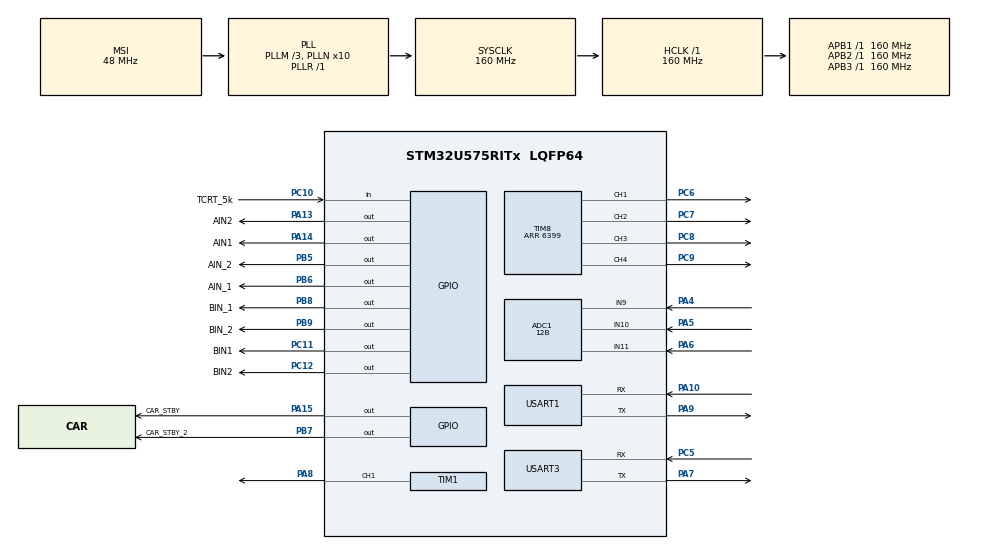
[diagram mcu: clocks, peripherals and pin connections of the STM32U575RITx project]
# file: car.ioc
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ADC1.Channel-4\#ChannelRegularConversion=ADC_CHANNEL_9
ADC1.Channel-5\#ChannelRegularConversion=ADC_CHANNEL_10
ADC1.Channel-6\#ChannelRegularConversion=ADC_CHANNEL_11
ADC1.ClockPrescaler=ADC_CLOCK_ASYNC_DIV1
ADC1.ContinuousConvMode=ENABLE
ADC1.ConversionDataManagement=ADC_CONVERSIONDATA_DMA_CIRCULAR
ADC1.EOCSelection=ADC_EOC_SINGLE_CONV
ADC1.EnableRegularConversion=ENABLE
ADC1.MonitoredBy-4\#ChannelRegularConversion=__NULL
ADC1.MonitoredBy-5\#ChannelRegularConversion=__NULL
ADC1.MonitoredBy-6\#ChannelRegularConversion=__NULL
ADC1.NbrOfConversion=3
ADC1.NbrOfConversionFlag=1
ADC1.OffsetNumber-4\#ChannelRegularConversion=ADC_OFFSET_NONE
ADC1.OffsetNumber-5\#ChannelRegularConversion=ADC_OFFSET_NONE
ADC1.OffsetNumber-6\#ChannelRegularConversion=ADC_OFFSET_NONE
ADC1.Rank-4\#ChannelRegularConversion=1
ADC1.Rank-5\#ChannelRegularConversion=2
ADC1.Rank-6\#ChannelRegularConversion=3
ADC1.Resolution=ADC_RESOLUTION_12B
ADC1.SamplingTime-4\#ChannelRegularConversion=ADC_SAMPLETIME_391CYCLES_5
ADC1.SamplingTime-5\#ChannelRegularConversion=ADC_SAMPLETIME_391CYCLES_5
ADC1.SamplingTime-6\#ChannelRegularConversion=ADC_SAMPLETIME_391CYCLES_5
ADC1.master=1
CORTEX_M33_NS.userName=CORTEX_M33
GPDMA1.CIRCULARMODE_GPDMACH0=ENABLE
GPDMA1.DESTDATAWIDTH_GPDMACH0=DMA_DEST_DATAWIDTH_HALFWORD
GPDMA1.DESTINC_GPDMACH0=DMA_DINC_INCREMENTED
GPDMA1.IPHANDLE_GPDMACH0-SIMPLEREQUEST_GPDMACH0=__NULL
GPDMA1.REQUEST_GPDMACH0=GPDMA1_REQUEST_ADC1
GPDMA1.SRCDATAWIDTH_GPDMACH0=DMA_SRC_DATAWIDTH_HALFWORD
GPDMA1.TRANSFERALLOCATEDPORTDEST_GPDMACH0=DMA_DEST_ALLOCATED_PORT1
GPDMA1.TRANSFERALLOCATEDPORTSRC_GPDMACH0=DMA_SRC_ALLOCATED_PORT1
Mcu.Family=STM32U5
Mcu.Name=STM32U575RITx
Mcu.Package=LQFP64
NVIC.GPDMA1_Channel0_IRQn=true\:0\:0\:false\:false\:true\:false\:true\:true
NVIC.PriorityGroup=NVIC_PRIORITYGROUP_2
NVIC.USART3_IRQn=true\:0\:0\:false\:false\:true\:true\:true\:true
PA10.Mode=Asynchronous
PA10.Signal=USART1_RX
PA13\ (JTMS/SWDIO).GPIO_Label=AIN2
PA13\ (JTMS/SWDIO).Signal=GPIO_Output
PA14\ (JTCK/SWCLK).GPIO_Label=AIN1
PA14\ (JTCK/SWCLK).Signal=GPIO_Output
PA15\ (JTDI).GPIO_Label=CAR_STBY
PA15\ (JTDI).Signal=GPIO_Output
PA4.Mode=IN9-Single-Ended
PA4.Signal=ADC1_IN9
PA5.Mode=IN10-Single-Ended
PA5.Signal=ADC1_IN10
PA6.Mode=IN11-Single-Ended
PA6.Signal=ADC1_IN11
PA7.Mode=Asynchronous
PA7.Signal=USART3_TX
PA8.Signal=S_TIM1_CH1
PA9.Mode=Asynchronous
PA9.Signal=USART1_TX
PB5.GPIO_Label=AIN_2
PB5.Signal=GPIO_Output
PB6.GPIO_Label=AIN_1
PB6.Signal=GPIO_Output
PB7.GPIO_Label=CAR_STBY_2
PB7.Signal=GPIO_Output
PB8.GPIO_Label=BIN_1
PB8.Signal=GPIO_Output
PB9.GPIO_Label=BIN_2
PB9.Signal=GPIO_Output
PC10.GPIO_Label=TCRT_5k
PC10.Signal=GPIO_Input
PC11.GPIO_Label=BIN1
PC11.Signal=GPIO_Output
PC12.GPIO_Label=BIN2
PC12.Signal=GPIO_Output
PC5.Mode=Asynchronous
PC5.Signal=USART3_RX
PC6.Signal=S_TIM8_CH1
PC7.Signal=S_TIM8_CH2
PC8.Signal=S_TIM8_CH3
PC9.Signal=S_TIM8_CH4
ProjectManager.HeapSize=0x200
ProjectManager.StackSize=0x400
ProjectManager.TargetToolchain=MDK-ARM V5.32
RCC.ADCFreq_Value=16000000
RCC.AHBFreq_Value=160000000
RCC.APB1Freq_Value=160000000
RCC.APB1TimFreq_Value=160000000
RCC.APB2Freq_Value=160000000
RCC.APB2TimFreq_Value=160000000
RCC.APB3Freq_Value=160000000
RCC.CortexFreq_Value=160000000
RCC.EPOD_VALUE=48000000
RCC.HCLKFreq_Value=160000000
RCC.HSE_VALUE=16000000
RCC.HSI48_VALUE=48000000
RCC.HSI_VALUE=16000000
RCC.LSE_VALUE=32768
RCC.LSIDIV_VALUE=32000
RCC.MSIClockRange=RCC_MSIRANGE_0
RCC.MSI_VALUE=48000000
RCC.PLL1R=1
RCC.PLLFRACN=0
RCC.PLLM=3
RCC.PLLN=10
RCC.SYSCLKFreq_VALUE=160000000
RCC.SYSCLKSource=RCC_SYSCLKSOURCE_PLLCLK
RCC.USBFreq_Value=48000000
RCC.VCOOutputFreq_Value=160000000
SH.S_TIM1_CH1.0=TIM1_CH1,PWM Generation1 CH1
SH.S_TIM8_CH1.0=TIM8_CH1,PWM Generation1 CH1
SH.S_TIM8_CH2.0=TIM8_CH2,PWM Generation2 CH2
SH.S_TIM8_CH3.0=TIM8_CH3,PWM Generation3 CH3
SH.S_TIM8_CH4.0=TIM8_CH4,PWM Generation4 CH4
TIM1.Channel-PWM\ Generation1\ CH1=TIM_CHANNEL_1
TIM1.OCMode_PWM-PWM\ Generation1\ CH1=TIM_OCMODE_PWM1
TIM1.PeriodNoDither=19999
TIM1.Prescaler=159
TIM1.PulseNoDither_1=10000
TIM8.Channel-PWM\ Generation1\ CH1=TIM_CHANNEL_1
TIM8.Channel-PWM\ Generation2\ CH2=TIM_CHANNEL_2
TIM8.Channel-PWM\ Generation3\ CH3=TIM_CHANNEL_3
TIM8.Channel-PWM\ Generation4\ CH4=TIM_CHANNEL_4
TIM8.PeriodNoDither=6399
TIM8.PulseNoDither_1=3199
TIM8.PulseNoDither_2=3199
TIM8.PulseNoDither_3=3199
TIM8.PulseNoDither_4=3199
USART1.VirtualMode-Asynchronous=VM_ASYNC
USART3.VirtualMode-Asynchronous=VM_ASYNC
VP_GPDMA1_VS_GPDMACH0.Mode=SIMPLEREQUEST_GPDMACH0
VP_ICACHE_VS_ENABLE_ICACHE_MEMORY.Mode=Memoryregions
VP_ICACHE_VS_ICACHE.Mode=DirectMappedCache
VP_LPBAMQUEUE_VS_QUEUE.Mode=QUEUEMODE
VP_LPBAM_VS_SIG1.Mode=SmartRun
VP_LPBAM_VS_SIG4.Mode=LPDMA1
VP_PWR_VS_DBSignals.Mode=DisableDeadBatterySignals
VP_PWR_VS_LPOM.Mode=PowerOptimisation
VP_PWR_VS_SECSignals.Mode=Security/Privilege
VP_TIM1_VS_ClockSourceINT.Mode=Internal
VP_TIM8_VS_ClockSourceINT.Mode=Internal
board=custom

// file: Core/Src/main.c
/* USER CODE BEGIN Header */
/**
  ******************************************************************************
  * @file           : main.c
  * @brief          : Main program body
  ******************************************************************************
  * @attention
  *
  * Copyright (c) 2025 STMicroelectronics.
  * All rights reserved.
  *
  * This software is licensed under terms that can be found in the LICENSE file
  * in the root directory of this software component.
  * If no LICENSE file comes with this software, it is provided AS-IS.
  *
  ******************************************************************************
  */
/* USER CODE END Header */
#include "main.h"
#include "adc.h"
#include "gpdma.h"
#include "icache.h"
#include "tim.h"
#include "usart.h"
#include "gpio.h"

/* USER CODE BEGIN Includes */
#include "stdio.h"
#include "string.h"
/* USER CODE END Includes */

/* USER CODE BEGIN PV */
//状态标志位
//Car
volatile uint16_t is_unloading_flag = 0;  			 	// 是否正在执行卸货动作
volatile uint32_t unload_start_time = 0;   				// 记录卸货开始的时间

volatile uint16_t en_black_num_flag    =0;				//允许黑线计数
volatile uint16_t black_num			   =0;				//黑线计数值,计数站点个数

volatile uint16_t getsomething_flag    =0;				//是否去 取货状态标志位
volatile uint16_t downsomething_falg   =0;				//是否去 卸货状态标志位
volatile uint16_t getsomething_ok_flag =0;				//是否已经取到货状态标志位
volatile uint16_t downsomething_ok_falg=0;				//是否已经卸下货状态标志位
volatile uint16_t DILE_flag 		   =0;				//小车卸货后的状态标志位,卸完货后小车自动去待命区
volatile uint16_t moving_off_line_flag =0;         		//离开黑线的状态标志位
volatile uint16_t getsomething_num     =0;				//取货地址
volatile uint16_t downsomething_num    =0;				//卸货地址

volatile uint16_t turn_Lslight_flag    =0;				//左小转
volatile uint16_t turn_Rslight_flag	   =0;				//右小转
volatile uint16_t turn_Lsharp_flag	   =0;				//左急转
volatile uint16_t turn_Rsharp_flag	   =0;				//右急转
volatile uint16_t go_flag			   =0;				//直走
volatile uint16_t stop_flag			   =0;				//停车
volatile uint16_t all_black_flag	   =0;				//全是黑线就停车
//ADC
volatile uint16_t adc_values[3]={0};		//存放三个ADC通道的数据  0 1 2  R1 M L1
volatile uint32_t flag_adc_vlau=0;					//ADC转换完成的标志位
#define BLACK_THRESHOLD 1500					//低于600是黑
#define BLACK_THRESHOLD_R 1500-400					//低于600是黑  右边的比另外两个低400
//TIM8
#define PWM_MAX_DUTY 6399 												// 占空比100%
uint16_t start = PWM_MAX_DUTY * 0.65;									//启动小车时的PWM占空比
uint16_t base_speed_straight 			= PWM_MAX_DUTY * 0.5; 			// 直行基础速度，例如50%
uint16_t base_speed_ALLback 	 		= PWM_MAX_DUTY * 0.5; 			// 后退基础速度，例如50%
uint16_t base_speed_back 	 			= PWM_MAX_DUTY * 0.3; 			// 十字倒车,30%
uint16_t base_speed_turn_outer 			= PWM_MAX_DUTY * 0.7; 			// 转弯外侧轮速度
uint16_t base_speed_turn_inner_slight 	= PWM_MAX_DUTY * 0.3; 			// 轻微转弯内侧轮速度
uint16_t base_speed_turn_inner_sharp	= PWM_MAX_DUTY * -0.45; 			// 急转弯内侧轮速度 (甚至可以为负，实现原地转)

//USART3
uint8_t Databuff[15]={"ARRIVED_PORT_5"};						//接收数据缓冲区	ARRIVED_PORT_0
uint8_t tx_buffer_usart3[30]; 									//发送缓冲区		ARRIVED_PORT_0-OK
volatile uint32_t flag_uart3_tx=0;								//允许发送标志位，限制只发送一次
volatile uint32_t flag_uart3_rxover=0;							//接收数据结束标志位
uint32_t flag_ADC_average=0;									//把三次的ADC值取平均的标志位

/* USER CODE END PV */

void SystemClock_Config(void);
static void SystemPower_Config(void);

/* USER CODE BEGIN 0 */
//u5的hal库开发，想要用pritnf打印，就需要以下代码。
/*************关闭标准库下的半主机模式**********************/
	__ASM (".global __use_no_semihosting");	//AC6编译器
 	//标准库需要的支持函数
	struct FILE
 	{
 	  int handle;
 	};
 	FILE __stdout;
 	//定义_sys_exit()以避免使用半主机模式
	void _sys_exit(int x)
	{
	  x = x;
	}
	void _ttywrch(int ch)
	{
	  ch = ch;
	}
	//printf实现重定向
	int fputc(int ch, FILE *f)
	{
		uint8_t temp[1] = {ch};
		HAL_UART_Transmit(&huart1, temp, 1, 2);
		return ch;
	}
//u5的hal库开发，想要用pritnf打印，就需要以上代码。

/* USER CODE END 0 */

int main(void)
{

  /* MCU Configuration--------------------------------------------------------*/

  /* Reset of all peripherals, Initializes the Flash interface and the Systick. */
  HAL_Init();

  /* Configure the system clock */
  SystemClock_Config();

  /* Configure the System Power */
  SystemPower_Config();

  /* Initialize all configured peripherals */
  MX_GPIO_Init();
  MX_GPDMA1_Init();
  MX_TIM1_Init();
  MX_ADC1_Init();
  MX_ICACHE_Init();
  MX_USART1_UART_Init();
  MX_TIM8_Init();
  MX_USART3_UART_Init();
  /* USER CODE BEGIN 2 */
	//与ADC有关
	HAL_PWREx_EnableVddA();		//启用VDDA电压域
	HAL_PWREx_EnableVddIO2();		//启用VDDIO2电压域
	if(HAL_ADCEx_Calibration_Start(&hadc1,ADC_CALIB_OFFSET,ADC_SINGLE_ENDED)!=HAL_OK)  //校准单端ADC采样
	{
		Error_Handler();
	}
	if(HAL_ADC_Start_DMA(&hadc1,(uint32_t *)adc_values,3)!=HAL_OK)
	{
		Error_Handler();
	}
	HAL_Delay(1000);//ADC初始化需要时间
	//启动 PWM 通道
	HAL_TIM_PWM_Start(&htim1, TIM_CHANNEL_1);//舵机
	HAL_TIM_PWM_Start(&htim8, TIM_CHANNEL_1);//电机
	HAL_TIM_PWM_Start(&htim8, TIM_CHANNEL_2);//电机
	HAL_TIM_PWM_Start(&htim8, TIM_CHANNEL_3);//电机
	HAL_TIM_PWM_Start(&htim8, TIM_CHANNEL_4);//电机
	__HAL_TIM_SET_COMPARE(&htim1, TIM_CHANNEL_1,500);	//舵机复原  0度
	//电机，默认50%pwm
    HAL_GPIO_WritePin(CAR_STBY_GPIO_Port,CAR_STBY_Pin,1);//使能STBY 1是使能，0是不使能
	HAL_GPIO_WritePin(CAR_STBY_2_GPIO_Port,CAR_STBY_2_Pin,1);//使能STBY_2	1是使能，0是不使能
//	//左芯片
//	__HAL_TIM_SET_COMPARE(&htim8, TIM_CHANNEL_1, start);		//头左 100%pwm  0-63999  0%-100%  低于50%(3199)跑不动
//	HAL_GPIO_WritePin(AIN1_GPIO_Port,AIN1_Pin,0);			//AO顺时针  		头左
//	HAL_GPIO_WritePin(AIN2_GPIO_Port,AIN2_Pin,1);
//	__HAL_TIM_SET_COMPARE(&htim8, TIM_CHANNEL_2, start);		//尾左 100%pwm
//	HAL_GPIO_WritePin(BIN2_GPIO_Port,BIN1_Pin,0);			//BO顺时针	  		尾左
//	HAL_GPIO_WritePin(BIN1_GPIO_Port,BIN2_Pin,1);
//	//右芯片
//	__HAL_TIM_SET_COMPARE(&htim8, TIM_CHANNEL_3, start);		//尾右 100%pwm
//	HAL_GPIO_WritePin(AIN_1_GPIO_Port,AIN_1_Pin,1);			//AO_2顺时针		尾右
//	HAL_GPIO_WritePin(AIN_2_GPIO_Port,AIN_2_Pin,0);
//	__HAL_TIM_SET_COMPARE(&htim8, TIM_CHANNEL_4, start);		//头右 100%pwm
//	HAL_GPIO_WritePin(BIN_1_GPIO_Port,BIN_1_Pin,1);			//BO_2顺时针		头右
//	HAL_GPIO_WritePin(BIN_2_GPIO_Port,BIN_2_Pin,0);

	//USART3
	HAL_Delay(500);//延时初始化串口，防止接收到ESP8266初始化的内容
	HAL_UART_Receive_IT(&huart3,(uint8_t*)&Databuff,14);	//中断接收数据

	printf("initok\r\n");
	unsigned char on_line_L1;
    unsigned char on_line_M;
    unsigned char on_line_R1;

  /* USER CODE END 2 */

  /* Infinite loop */
  /* USER CODE BEGIN WHILE */
  while (1)
  {
//	  printf("%d,  %d , %d ,%d ,%d \r\n",base_speed_straight,base_speed_back, base_speed_turn_outer,base_speed_turn_inner_slight,base_speed_turn_inner_sharp);
	  if(flag_uart3_rxover)			//接收完成ESP8266的信息且已经存到Databuff数组里
	  {
		  flag_uart3_rxover=0;
		  switch(Databuff[13])//通过收货地址来获取卸货地址
		  {
			  case '1':	getsomething_flag=1;	//接收到传输带发来的取货地址后，装换成收货状态，小车启动
						downsomething_falg=0;
						getsomething_ok_flag=0;
						downsomething_ok_falg=0;
						DILE_flag=0;
						all_black_flag=0;		//允许小车运动
						getsomething_num=1;downsomething_num=4;  break;
			  case '2':	getsomething_flag=1;	//接收到传输带发来的取货地址后，装换成收货状态，小车启动
						downsomething_falg=0;
			  			getsomething_ok_flag=0;
						downsomething_ok_falg=0;
						DILE_flag=0;
						all_black_flag=0;		//允许小车运动
						getsomething_num=2;downsomething_num=5;  break;
			  case '3':	getsomething_flag=1;	//接收到传输带发来的取货地址后，装换成收货状态，小车启动
						downsomething_falg=0;
			  			getsomething_ok_flag=0;
						downsomething_ok_falg=0;
						DILE_flag=0;
						all_black_flag=0;		//允许小车运动
						getsomething_num=3;downsomething_num=6;  break;
			  default : break;
		  }
		  printf("rc:  ");//打印出接收到的信息
		  for(uint8_t i=0;i<14;i++)
		  {
			  printf("%c", (unsigned char)Databuff[i]);//把接收的数据打印出来 UART3输入
		  }
		  printf("   GSN AND DSN: %d %d  ",getsomething_num,downsomething_num);
		  printf("\r\n");
	  }
	if(flag_adc_vlau && (getsomething_flag==1 || downsomething_falg==1 || DILE_flag==1))//只有取货\卸货\去待命区的路上 才允许小车动
    {
      uint16_t adc_R1 = adc_values[0]; 		// 右传感器 (PA4)
      uint16_t adc_M  = adc_values[1]; 		// 中传感器 (PA5)
      uint16_t adc_L1 = adc_values[2];		// 左传感器 (PA6)

      // 打印ADC值用于调试
      printf("ADC L1:%d M:%d R1:%d\r\n", adc_L1, adc_M, adc_R1);

      on_line_L1 = (adc_L1 < BLACK_THRESHOLD);
      on_line_M  = (adc_M  < BLACK_THRESHOLD);
      on_line_R1 = (adc_R1 < BLACK_THRESHOLD);

      if (on_line_M && !on_line_L1 && !on_line_R1) {
        // 状态1: 只有中间传感器在黑线上 -> 直行
		  printf("Action: Forward\r\n");
		  if(all_black_flag!=1){
		  go_flag=1;
		  turn_Lslight_flag=0;				//左小转
		  turn_Rslight_flag=0;				//右小转
		  turn_Lsharp_flag=0;				//左急转
		  turn_Rsharp_flag=0;				//右急转
		  stop_flag=0;						//停车
		  en_black_num_flag=1;				//允许黑线计数
		  }

//        car_forward_4wd(base_speed_straight, base_speed_straight);
      } else if (on_line_M && on_line_L1 && !on_line_R1) {
        // 状态2: 中间和左边传感器在黑线上 (车身偏右，左边压线) -> 左小转
		 if(all_black_flag!=1){
		  turn_Lslight_flag=1;
		  go_flag=0;
		  turn_Rslight_flag=0;				//右小转
		  turn_Lsharp_flag=0;				//左急转
		  turn_Rsharp_flag=0;				//右急转
		  stop_flag=0;						//停车
		  en_black_num_flag=1;				//允许黑线计数
		 }

		printf("Action: Slight Left\r\n");
//        car_turn_left_4wd(base_speed_turn_inner_slight, base_speed_turn_outer);
      } else if (on_line_L1 && !on_line_M && !on_line_R1) {
        // 状态3: 只有左边传感器在黑线上 (车身严重偏右) -> 左大转
		 if(all_black_flag!=1){
		  turn_Lsharp_flag=1;
		  turn_Lslight_flag=0;
		  go_flag=0;
		  turn_Rslight_flag=0;				//右小转
		  turn_Rsharp_flag=0;				//右急转
		  stop_flag=0;						//停车
		  en_black_num_flag=1;				//允许黑线计数
		 }

        printf("Action: Sharp Left\r\n");
//        car_turn_left_4wd(base_speed_turn_inner_sharp, base_speed_turn_outer);
      } else if (on_line_M && on_line_R1 && !on_line_L1) {
        // 状态4: 中间和右边传感器在黑线上 (车身偏左，右边压线) -> 右小转
		 if(all_black_flag!=1){
		  turn_Rslight_flag=1;
		  turn_Lsharp_flag=0;
		  turn_Lslight_flag=0;
		  go_flag=0;
		  turn_Rsharp_flag=0;				//右急转
		  stop_flag=0;						//停车
		  en_black_num_flag=1;				//允许黑线计数
		 }

        printf("Action: Slight Right\r\n");
//        car_turn_right_4wd(base_speed_turn_outer, base_speed_turn_inner_slight);
      } else if (on_line_R1 && !on_line_M && !on_line_L1) {
        // 状态5: 只有右边传感器在黑线上 (车身严重偏左) -> 右大转
		 if(all_black_flag!=1){
		  turn_Rsharp_flag=1;
		  turn_Rslight_flag=0;
		  turn_Lsharp_flag=0;
		  turn_Lslight_flag=0;
		  go_flag=0;
		  stop_flag=0;						//停车
		  en_black_num_flag=1;				//允许黑线计数
		 }

        printf("Action: Sharp Right\r\n");
//        car_turn_right_4wd(base_speed_turn_outer, base_speed_turn_inner_sharp);
      } else if (!on_line_L1 && !on_line_M && !on_line_R1) {
        // 状态6: 所有传感器都在白地上 -> 脱线
        // 脱线后会一直维持上一个状态，可以根据上一次状态尝试回找
		printf("Action: All off line(Intersection?)\r\n");
      } else if (on_line_L1 && on_line_M && on_line_R1) {
        // 状态7: 所有传感器都在黑线上 -> 十字路口或较宽的线

		 if(en_black_num_flag==1)				//站点计数，如果允许=1，路过黑线就+1
		 {	 //每条黑线只加一次，只进入这个if一次
			 en_black_num_flag=0;				//防止停车后一直累加
			 black_num=black_num+1;				//黑线计数+1
			 flag_uart3_tx=1;
			 if(black_num==7){					//一共7个站点，第七个或者第0个是待命停车区
			 black_num=0;
			 }
			 printf("staion_num: %d \r\n",black_num);
		 }

		 if(black_num == 0 && DILE_flag == 1)//判断是否为待命区停车点 (只有在返回途中才生效)
		 {
			 printf("到达待命区，准备停车。\r\n");
			 all_black_flag = 1;		// 到达待命区,停车
			 DILE_flag = 0;				// 返回任务结束
			 // 清空所有运动指令
			 stop_flag = 0;
			 turn_Rsharp_flag = 0;
			 turn_Rslight_flag = 0;
			 turn_Lsharp_flag = 0;
			 turn_Lslight_flag = 0;
			 go_flag = 0;
		 }
		 else if((getsomething_ok_flag!=1 && black_num == getsomething_num)||(downsomething_ok_falg!=1 && black_num == downsomething_num))
		 {	//只有正在去收货且身上没货\卸货且身上有货才允许停车，不然 只计数不停车
			 all_black_flag=1;		//停车
			 stop_flag=0;
			 turn_Rsharp_flag=0;
			 turn_Rslight_flag=0;
			 turn_Lsharp_flag=0;
			 turn_Lslight_flag=0;
			 go_flag=0;
			 if(getsomething_flag==1) //取货时到达取货停车点
			 {
				 if(flag_uart3_tx == 1)//到达取货站点就给上位机发送到达的信息
				 {
					 //使用 sprintf 构建消息
					 sprintf((char*)tx_buffer_usart3, "ARRIVED_PORT_%d", getsomething_num);
					 //通过 USART3 发送消息给 ESP8266
					 HAL_UART_Transmit(&huart3, tx_buffer_usart3, strlen((char*)tx_buffer_usart3), 100);
					 //打印调试信息，确认已发送
					 printf("已到达取货点，向ESP8266发送: %s\r\n", tx_buffer_usart3);
					 flag_uart3_tx=0;//只发送一次
				 }
				 if(HAL_GPIO_ReadPin(TCRT_5k_GPIO_Port,TCRT_5k_Pin)==0)//已经接收到货物
				 {
					 getsomething_flag=0;		//取货状态结束，进入卸货ing状态
					 downsomething_falg=1;		//进入卸货ing状态
					 getsomething_ok_flag=1;	//已经接收到货物
					 downsomething_ok_falg=0;	//还没卸货
					 all_black_flag=0;			//允许小车运动
					 HAL_Delay(500);			//延时0.5秒启动
					 go_flag=1;					//先直走，走出停车区
				 }
			 }
			 else if(downsomething_falg==1) //正在去卸货点
			 {
				 //到达卸货点（black_num == downsomething_num）
				 if((black_num == downsomething_num) && HAL_GPIO_ReadPin(TCRT_5k_GPIO_Port,TCRT_5k_Pin)==0 && (is_unloading_flag == 0))//到达卸货点且有货物，舵机把货物推下
				 {
					 printf("启动卸货流程...\r\n");
					 is_unloading_flag = 1; // 进入卸货状态1：舵机伸出
					 __HAL_TIM_SET_COMPARE(&htim1, TIM_CHANNEL_1,2500); // 舵机伸出
					 unload_start_time = HAL_GetTick(); // 记录当前时间
				 }
				 else if((black_num == downsomething_num) && HAL_GPIO_ReadPin(TCRT_5k_GPIO_Port,TCRT_5k_Pin)==1)//到达卸货停车点且已经卸下货物
				 {
					 //使用 sprintf 构建消息。发送的是  在哪个取货站点取的货物已经卸下
					 sprintf((char*)tx_buffer_usart3, "ARRIVED_PORT_%d-OK", getsomething_num);
					 //通过 USART3 发送消息给 ESP8266
					 HAL_UART_Transmit(&huart3, tx_buffer_usart3, strlen((char*)tx_buffer_usart3), 100);
					 //打印调试信息，确认已发送
					 printf("已完成卸货，向ESP8266发送: %s\r\n", tx_buffer_usart3);
					 //更新状态
					 getsomething_flag=0;		//取货状态结束
					 downsomething_falg=0;		//卸货状态结束
					 getsomething_ok_flag=0;	//已经卸完货了
					 downsomething_ok_falg=1;	//已经卸完货了
					 DILE_flag=1;				//卸完货后变为去待命区待命的状态
					 all_black_flag=0;			//允许小车运动
					 HAL_Delay(500);			//延时0.5秒启动
					 go_flag=1;					//先直走，走出停车区
				 }
			 }
		 }
		 else//当以上状态(去收货且身上没货\卸货且身上有货时)  不成立 ,才不停车,直行通过黑线
		 {
			 all_black_flag = 0; 				//不允许停车
			 go_flag=1;							//直行通过黑线
			 turn_Lslight_flag=0;				//左小转
			 turn_Rslight_flag=0;				//右小转
			 turn_Lsharp_flag=0;				//左急转
			 turn_Rsharp_flag=0;				//右急转
			 stop_flag=0;						//停车
			 printf("aaaaaaaaa\r\n");
		 }
		 printf("Action: All on line (Intersection?)\r\n");
		 printf("all_black_flag:   %d   \r\n",all_black_flag);
      }
	  printf("   GSN_ok AND DSN_ok: %d %d  ",getsomething_ok_flag,downsomething_ok_falg);
	  printf("DILE_flag: %d \r\n",DILE_flag);
	  printf("staion_num: %d \r\n",black_num);
      flag_adc_vlau = 0;
    }
	//非阻塞式延时执行舵机程序 800ms
	if(is_unloading_flag == 1) // 如果正在等待舵机伸出
    {
        if(HAL_GetTick() - unload_start_time > 800) // 判断800ms是否已到
        {
            is_unloading_flag = 2; // 进入卸货状态2：舵机收回
            __HAL_TIM_SET_COMPARE(&htim1, TIM_CHANNEL_1,500); // 舵机收回
            unload_start_time = HAL_GetTick(); // 重新记录时间
        }
    }
    else if(is_unloading_flag == 2) // 如果正在等待舵机收回
    {
        if(HAL_GetTick() - unload_start_time > 800) // 判断第二个800ms是否已到
        {
            printf("卸货动作完成，检查结果。\r\n");
            is_unloading_flag = 0; // 卸货流程结束，复位标志
            // (注意：这里需要将原来卸货成功的代码移到这里)
        }
    }

	if(go_flag){
	 car_forward_4wd(base_speed_straight, base_speed_straight);
	}
	if(turn_Lslight_flag){
	 car_turn_left_4wd(base_speed_turn_inner_slight, base_speed_turn_outer);
	}
	if(turn_Lsharp_flag){
	 car_turn_left_4wd(base_speed_turn_inner_sharp, base_speed_turn_outer);
	}
	if(turn_Rslight_flag){
	 car_turn_right_4wd(base_speed_turn_outer, base_speed_turn_inner_slight);
	}
	if(turn_Rsharp_flag){
	 car_turn_right_4wd(base_speed_turn_outer, base_speed_turn_inner_sharp);
	}
	if(stop_flag){
	 car_stop_4wd();
	}
	if(all_black_flag){//只有在收货和卸货时才停车
	if(!(on_line_L1 && on_line_M && on_line_R1)){
		car_reverse_4wd(base_speed_back,base_speed_back);	//倒车  防止滑翔溜车
		printf("倒车\r\n");
	}
	else{
		car_stop_4wd();
		printf("停车\r\n");
	}
	}
    /* USER CODE END WHILE */

  }
}

void SystemClock_Config(void)
{
  RCC_OscInitTypeDef RCC_OscInitStruct = {0};
  RCC_ClkInitTypeDef RCC_ClkInitStruct = {0};

  /** Configure the main internal regulator output voltage
  */
  if (HAL_PWREx_ControlVoltageScaling(PWR_REGULATOR_VOLTAGE_SCALE1) != HAL_OK)
  {
    Error_Handler();
  }

  /** Initializes the CPU, AHB and APB buses clocks
  */
  RCC_OscInitStruct.OscillatorType = RCC_OSCILLATORTYPE_HSI|RCC_OSCILLATORTYPE_MSI;
  RCC_OscInitStruct.HSIState = RCC_HSI_ON;
  RCC_OscInitStruct.HSICalibrationValue = RCC_HSICALIBRATION_DEFAULT;
  RCC_OscInitStruct.MSIState = RCC_MSI_ON;
  RCC_OscInitStruct.MSICalibrationValue = RCC_MSICALIBRATION_DEFAULT;
  RCC_OscInitStruct.MSIClockRange = RCC_MSIRANGE_0;
  RCC_OscInitStruct.PLL.PLLState = RCC_PLL_ON;
  RCC_OscInitStruct.PLL.PLLSource = RCC_PLLSOURCE_MSI;
  RCC_OscInitStruct.PLL.PLLMBOOST = RCC_PLLMBOOST_DIV4;
  RCC_OscInitStruct.PLL.PLLM = 3;
  RCC_OscInitStruct.PLL.PLLN = 10;
  RCC_OscInitStruct.PLL.PLLP = 2;
  RCC_OscInitStruct.PLL.PLLQ = 2;
  RCC_OscInitStruct.PLL.PLLR = 1;
  RCC_OscInitStruct.PLL.PLLRGE = RCC_PLLVCIRANGE_1;
  RCC_OscInitStruct.PLL.PLLFRACN = 0;
  if (HAL_RCC_OscConfig(&RCC_OscInitStruct) != HAL_OK)
  {
    Error_Handler();
  }

  /** Initializes the CPU, AHB and APB buses clocks
  */
  RCC_ClkInitStruct.ClockType = RCC_CLOCKTYPE_HCLK|RCC_CLOCKTYPE_SYSCLK
                              |RCC_CLOCKTYPE_PCLK1|RCC_CLOCKTYPE_PCLK2
                              |RCC_CLOCKTYPE_PCLK3;
  RCC_ClkInitStruct.SYSCLKSource = RCC_SYSCLKSOURCE_PLLCLK;
  RCC_ClkInitStruct.AHBCLKDivider = RCC_SYSCLK_DIV1;
  RCC_ClkInitStruct.APB1CLKDivider = RCC_HCLK_DIV1;
  RCC_ClkInitStruct.APB2CLKDivider = RCC_HCLK_DIV1;
  RCC_ClkInitStruct.APB3CLKDivider = RCC_HCLK_DIV1;

  if (HAL_RCC_ClockConfig(&RCC_ClkInitStruct, FLASH_LATENCY_4) != HAL_OK)
  {
    Error_Handler();
  }
}

/**
  * @brief Power Configuration
  * @retval None
  */
static void SystemPower_Config(void)
{

  /*
   * Disable the internal Pull-Up in Dead Battery pins of UCPD peripheral
   */
  HAL_PWREx_DisableUCPDDeadBattery();
}

/* USER CODE BEGIN 4 */
//adc1的转换完成回调函数
void HAL_ADC_ConvCpltCallback(ADC_HandleTypeDef* hadc)
{
  if (hadc->Instance == ADC1) // 确保是ADC1的中断
  {
	flag_adc_vlau=1;
  }
}
//USART2
void HAL_UART_RxCpltCallback(UART_HandleTypeDef  *huart)		//接收中断的回调函数  接收到14个字符就会进入这个函数
{
	if(huart->Instance == USART3)								//判断是否是usart1
	{
		flag_uart3_rxover=1;									//接收完成标志位
		HAL_UART_Receive_IT(&huart3,(uint8_t*)&Databuff,14);	//准备下一次接收
	}
}

/***************************以下是小车的函数***************************************/
void set_motor_speed(TIM_HandleTypeDef *htim, uint32_t channel, uint16_t speed) {
    __HAL_TIM_SET_COMPARE(htim, channel, speed);
}
// 设置单个电机方向： dir=1 前进, dir=0 刹车, dir=-1 后退, dir=2 停车
void set_motor_direction(GPIO_TypeDef* IN1_Port, uint16_t IN1_Pin, GPIO_TypeDef* IN2_Port, uint16_t IN2_Pin, int dir) {
    if (dir ==1) { // 前进
        HAL_GPIO_WritePin(IN1_Port, IN1_Pin, GPIO_PIN_RESET);
        HAL_GPIO_WritePin(IN2_Port, IN2_Pin, GPIO_PIN_SET);
    } else if (dir ==-1) { // 后退
        HAL_GPIO_WritePin(IN1_Port, IN1_Pin, GPIO_PIN_SET);
        HAL_GPIO_WritePin(IN2_Port, IN2_Pin, GPIO_PIN_RESET);
    } else if (dir ==2) { // 停止  ==1
        HAL_GPIO_WritePin(IN1_Port, IN1_Pin, GPIO_PIN_SET);
        HAL_GPIO_WritePin(IN2_Port, IN2_Pin, GPIO_PIN_SET);
    } else { // 停止  ==0
        HAL_GPIO_WritePin(IN1_Port, IN1_Pin, GPIO_PIN_RESET);
        HAL_GPIO_WritePin(IN2_Port, IN2_Pin, GPIO_PIN_RESET);
    }
}
// 四轮前进
void car_forward_4wd(uint16_t speed_L, uint16_t speed_R) {
    // 左侧电机前进
    set_motor_direction(AIN1_GPIO_Port, AIN1_Pin, AIN2_GPIO_Port, AIN2_Pin, 1); // 左前
    set_motor_speed(&htim8, TIM_CHANNEL_1, speed_L);
    set_motor_direction(BIN2_GPIO_Port, BIN1_Pin, BIN1_GPIO_Port, BIN2_Pin, 1); // 左后
    set_motor_speed(&htim8, TIM_CHANNEL_2, speed_L);

    // 右侧电机前进
    set_motor_direction(BIN_1_GPIO_Port, BIN_1_Pin, BIN_2_GPIO_Port, BIN_2_Pin, 1); // 右前
    set_motor_speed(&htim8, TIM_CHANNEL_4, speed_R);
    set_motor_direction(AIN_1_GPIO_Port, AIN_1_Pin, AIN_2_GPIO_Port, AIN_2_Pin, 1); // 右后
    set_motor_speed(&htim8, TIM_CHANNEL_3, speed_R);
}
// 四轮左转 (差速)
void car_turn_left_4wd(uint16_t speed_L_turn, uint16_t speed_R_outer) {
    // 左侧电机减速/停止
    set_motor_direction(AIN1_GPIO_Port, AIN1_Pin, AIN2_GPIO_Port, AIN2_Pin, 1); // 左前 (保持前进方向，但速度降低)
    set_motor_speed(&htim8, TIM_CHANNEL_1, speed_L_turn);
    set_motor_direction(BIN2_GPIO_Port, BIN1_Pin, BIN1_GPIO_Port, BIN2_Pin, 2); // 左后
    set_motor_speed(&htim8, TIM_CHANNEL_2, 6399);

    // 右侧电机正常/加速
    set_motor_direction(BIN_1_GPIO_Port, BIN_1_Pin, BIN_2_GPIO_Port, BIN_2_Pin, 1); // 右前
    set_motor_speed(&htim8, TIM_CHANNEL_4, speed_R_outer+PWM_MAX_DUTY * 0.20);
    set_motor_direction(AIN_1_GPIO_Port, AIN_1_Pin, AIN_2_GPIO_Port, AIN_2_Pin, 1); // 右后
    set_motor_speed(&htim8, TIM_CHANNEL_3, speed_R_outer);
}
// 四轮右转 (差速)
void car_turn_right_4wd(uint16_t speed_L_outer, uint16_t speed_R_turn) {
    // 左侧电机正常/加速
    set_motor_direction(AIN1_GPIO_Port, AIN1_Pin, AIN2_GPIO_Port, AIN2_Pin, 1); // 左前
    set_motor_speed(&htim8, TIM_CHANNEL_1, speed_L_outer+PWM_MAX_DUTY * 0.20);
    set_motor_direction(BIN2_GPIO_Port, BIN1_Pin, BIN1_GPIO_Port, BIN2_Pin, 1); // 左后
    set_motor_speed(&htim8, TIM_CHANNEL_2, speed_L_outer);

    // 右侧电机减速/停止
    set_motor_direction(BIN_1_GPIO_Port, BIN_1_Pin, BIN_2_GPIO_Port, BIN_2_Pin, 1); // 右前 (保持前进方向，但速度降低)
    set_motor_speed(&htim8, TIM_CHANNEL_4, speed_R_turn);
    set_motor_direction(AIN_1_GPIO_Port, AIN_1_Pin, AIN_2_GPIO_Port, AIN_2_Pin, 2); // 右后
    set_motor_speed(&htim8, TIM_CHANNEL_3, 6399);
}
// 四轮停止  TIM8的刹车功能
void car_stop_4wd(void) {
    set_motor_direction(AIN1_GPIO_Port, AIN1_Pin, AIN2_GPIO_Port, AIN2_Pin, 0); // 左前
	set_motor_speed(&htim8, TIM_CHANNEL_1, 0);
	set_motor_direction(BIN2_GPIO_Port, BIN1_Pin, BIN1_GPIO_Port, BIN2_Pin, 0); // 左后
	set_motor_speed(&htim8, TIM_CHANNEL_2, 0);

	set_motor_direction(BIN_1_GPIO_Port, BIN_1_Pin, BIN_2_GPIO_Port, BIN_2_Pin, 0); // 右前
	set_motor_speed(&htim8, TIM_CHANNEL_4, 0);
	set_motor_direction(AIN_1_GPIO_Port, AIN_1_Pin, AIN_2_GPIO_Port, AIN_2_Pin, 0); // 右后
	set_motor_speed(&htim8, TIM_CHANNEL_3, 0);
}
// 四轮倒车
void car_reverse_4wd(uint16_t speed_L_reverse, uint16_t speed_R_reverse)
{
	HAL_GPIO_WritePin(CAR_STBY_GPIO_Port,CAR_STBY_Pin,1);       // 使能STBY
	HAL_GPIO_WritePin(CAR_STBY_2_GPIO_Port,CAR_STBY_2_Pin,1);   // 使能STBY_2

    // 左侧电机后退
	set_motor_direction(AIN1_GPIO_Port, AIN1_Pin, AIN2_GPIO_Port, AIN2_Pin, -1); // 左前轮后退
    set_motor_speed(&htim8, TIM_CHANNEL_1, speed_L_reverse);
    set_motor_direction(BIN2_GPIO_Port, BIN1_Pin, BIN1_GPIO_Port, BIN2_Pin, -1); // 左后轮后退
    set_motor_speed(&htim8, TIM_CHANNEL_2, speed_L_reverse);

    // 右侧电机后退
	set_motor_direction(BIN_1_GPIO_Port, BIN_1_Pin, BIN_2_GPIO_Port, BIN_2_Pin, -1); // 右前轮后退
    set_motor_speed(&htim8, TIM_CHANNEL_4, speed_R_reverse);
    set_motor_direction(AIN_1_GPIO_Port, AIN_1_Pin, AIN_2_GPIO_Port, AIN_2_Pin, -1); // 右后轮后退
    set_motor_speed(&htim8, TIM_CHANNEL_3, speed_R_reverse);
}
/***************************小车函数分界线***************************************/
/* USER CODE END 4 */

void Error_Handler(void)
{
  __disable_irq();
  while (1)
  {
  }
}
